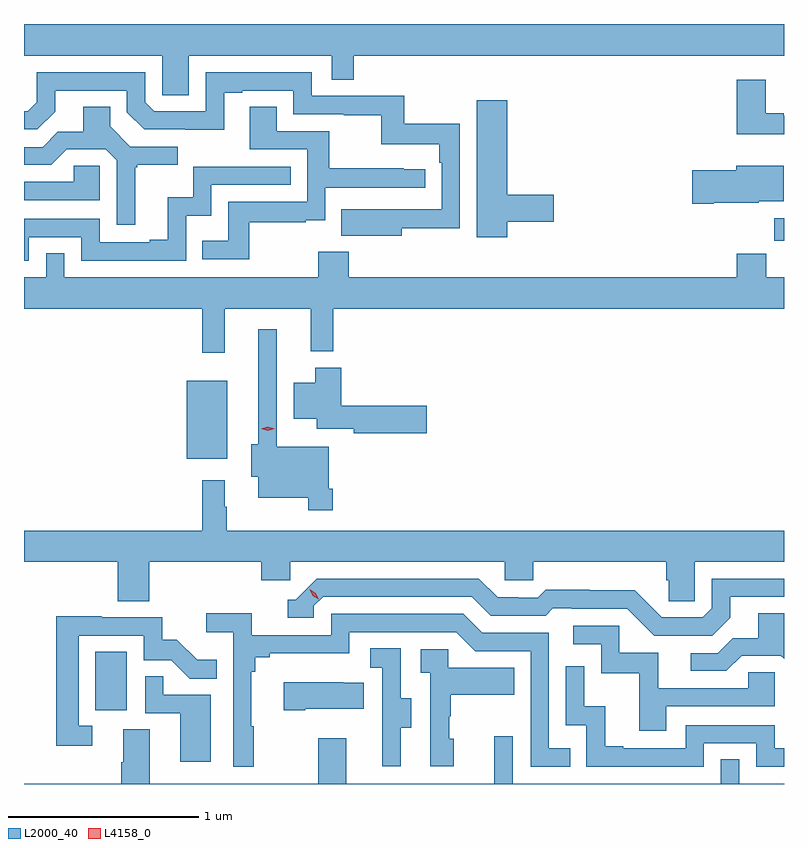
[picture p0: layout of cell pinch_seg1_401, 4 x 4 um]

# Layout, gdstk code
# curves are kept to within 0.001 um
import gdstk
lib = gdstk.Library(unit=1e-6, precision=1e-09)
def R(c, l, rs):  # rectangles x0, y0, x1, y1
    for r in rs: c.add(gdstk.rectangle(r[:2], r[2:], *l))
def P(c, l, *ps):  # polygons
    for p in ps: c.add(gdstk.Polygon(p, *l))
L2000_40 = (2000, 40)
L4158_0 = (4158, 0)

pinch_seg1_401 = lib.new_cell('pinch_seg1_401')
R(pinch_seg1_401, L2000_40, [(934.994,534.966,935.158,535.273), (935.474,536.291,935.689,536.701), (938.566,537.438,938.618,537.556)])
P(pinch_seg1_401, L2000_40, [(935.485,538.412),(936.237,538.412),(936.237,538.285),(936.353,538.285),(936.353,538.412),(938.618,538.412),(938.618,538.578),(938.591,538.578),(938.591,538.576),(935.603,538.576),(935.603,538.578),(935.443,538.578),(935.443,538.576),(934.998,538.576),(934.998,538.578),(934.843,538.578),(934.843,538.576),(934.618,538.576),(934.618,538.412),(935.346,538.412),(935.346,538.204),(935.485,538.204)],
  [(936.607,537.502),(936.912,537.502),(936.912,538.054),(936.619,538.054),(936.619,538.2),(936.132,538.2),(936.132,538.323),(935.574,538.323),(935.574,538.119),(935.304,538.119),(935.256,538.167),(935.256,538.323),(934.686,538.323),(934.686,538.167),(934.638,538.119),(934.618,538.119),(934.618,538.023),(934.689,538.023),(934.783,538.117),(934.783,538.227),(935.16,538.227),(935.16,538.113),(935.25,538.023),(935.671,538.022),(935.671,538.215),(935.767,538.215),(935.767,538.227),(936.036,538.227),(936.036,538.104),(936.301,538.104),(936.301,538.099),(936.498,538.099),(936.498,537.944),(936.803,537.944),(936.803,537.848),(936.816,537.848),(936.816,537.603),(936.289,537.604),(936.289,537.464),(936.607,537.464)],
  [(938.618,538.095),(938.617,538.095),(938.617,538.108),(938.521,538.108),(938.521,538.285),(938.369,538.285),(938.369,537.998),(938.618,537.998)],
  [(937.162,537.538),(937.405,537.538),(937.405,537.68),(937.162,537.68),(937.162,538.177),(937.001,538.177),(937.001,537.456),(937.162,537.456)],
  [(935.203,537.825),(935.215,537.825),(935.215,537.836),(935.428,537.836),(935.428,537.933),(935.178,537.933),(935.071,538.04),(935.071,538.142),(934.931,538.142),(934.931,538.01),(934.796,538.01),(934.716,537.93),(934.618,537.93),(934.618,537.837),(934.762,537.837),(934.843,537.918),(935.049,537.918),(935.106,537.861),(935.106,537.522),(935.203,537.522)],
  [(935.803,537.534),(936.101,537.534),(936.101,537.545),(936.204,537.545),(936.204,537.717),(936.73,537.717),(936.73,537.813),(936.617,537.813),(936.617,537.818),(936.224,537.818),(936.224,538.014),(935.947,538.014),(935.947,538.142),(935.807,538.142),(935.807,537.918),(936.108,537.918),(936.108,537.642),(935.692,537.642),(935.692,537.436),(935.557,537.436),(935.557,537.339),(935.803,537.339)],
  [(938.248,537.638),(938.484,537.638),(938.484,537.644),(938.617,537.644),(938.617,537.832),(938.366,537.832),(938.366,537.809),(938.136,537.809),(938.136,537.631),(938.248,537.631)],
  [(935.016,537.831),(934.879,537.831),(934.879,537.747),(934.618,537.747),(934.618,537.651),(935.016,537.651)],
  [(934.644,537.456),(934.92,537.456),(934.92,537.333),(935.472,537.333),(935.472,537.569),(935.604,537.569),(935.604,537.732),(936.023,537.732),(936.023,537.828),(935.508,537.828),(935.508,537.667),(935.375,537.667),(935.375,537.442),(935.279,537.442),(935.279,537.429),(935.016,537.429),(935.016,537.552),(934.618,537.552),(934.618,537.333),(934.644,537.333)],
  [(935.675,537.08),(936.128,537.08),(936.128,536.855),(936.245,536.855),(936.245,537.08),(938.618,537.08),(938.618,537.244),(938.525,537.244),(938.525,537.368),(938.369,537.368),(938.369,537.244),(936.326,537.244),(936.326,537.379),(936.166,537.379),(936.166,537.244),(934.83,537.244),(934.83,537.371),(934.734,537.371),(934.734,537.244),(934.618,537.244),(934.618,537.08),(935.557,537.08),(935.557,536.847),(935.675,536.847)],
  [(936.242,536.131),(936.222,536.131),(936.222,536.353),(935.949,536.353),(935.949,536.971),(935.852,536.971),(935.852,536.366),(935.813,536.366),(935.813,536.195),(935.852,536.195),(935.852,536.084),(936.114,536.084),(936.114,536.019),(936.242,536.019)],
  [(936.739,536.57),(936.287,536.57),(936.287,536.77),(936.152,536.77),(936.152,536.689),(936.038,536.689),(936.038,536.501),(936.158,536.501),(936.158,536.447),(936.354,536.447),(936.354,536.423),(936.739,536.423)],
  [(935.276,535.748),(935.867,535.748),(935.867,535.65),(936.018,535.65),(936.018,535.748),(937.149,535.748),(937.149,535.65),(937.299,535.65),(937.299,535.748),(937.997,535.748),(937.997,535.65),(938.011,535.65),(938.011,535.54),(938.148,535.54),(938.148,535.748),(938.618,535.748),(938.618,535.912),(935.686,535.912),(935.686,536.036),(935.674,536.036),(935.674,536.176),(935.557,536.176),(935.557,535.912),(934.618,535.912),(934.618,535.748),(935.111,535.748),(935.111,535.54),(935.276,535.54)],
  [(938.335,535.453),(938.335,535.563),(938.618,535.563),(938.618,535.659),(938.238,535.659),(938.238,535.503),(938.19,535.455),(937.974,535.455),(937.832,535.597),(937.596,535.597),(937.596,535.6),(937.363,535.6),(937.321,535.557),(937.218,535.557),(937.218,535.56),(937.111,535.56),(937.012,535.659),(936.159,535.659),(936.048,535.548),(936.005,535.548),(936.005,535.452),(936.144,535.452),(936.144,535.515),(936.192,535.563),(936.975,535.563),(937.074,535.464),(937.363,535.464),(937.402,535.503),(937.501,535.503),(937.501,535.5),(937.794,535.5),(937.935,535.359),(938.241,535.359)],
  [(935.827,534.881),(935.815,534.881),(935.815,535.169),(935.834,535.169),(935.834,535.246),(935.911,535.246),(935.911,535.265),(936.33,535.265),(936.33,535.377),(936.894,535.377),(936.993,535.278),(937.284,535.278),(937.284,534.669),(937.493,534.669),(937.493,534.765),(937.38,534.765),(937.38,535.374),(937.03,535.374),(936.931,535.473),(936.234,535.473),(936.234,535.362),(935.816,535.362),(935.816,535.478),(935.577,535.478),(935.577,535.376),(935.718,535.376),(935.718,534.669),(935.827,534.669)],
  [(938.395,535.254),(938.601,535.254),(938.618,535.237),(938.618,535.478),(938.483,535.478),(938.483,535.346),(938.348,535.346),(938.268,535.266),(938.127,535.266),(938.127,535.173),(938.314,535.173)],
  [(934.978,534.885),(934.905,534.885),(934.905,535.359),(935.247,535.359),(935.247,535.23),(935.392,535.23),(935.49,535.132),(935.633,535.132),(935.633,535.231),(935.529,535.231),(935.422,535.338),(935.346,535.338),(935.346,535.455),(935.027,535.455),(935.027,535.46),(934.789,535.46),(934.789,534.78),(934.978,534.78)],
  [(937.999,534.987),(938.568,534.987),(938.568,535.167),(938.431,535.167),(938.431,535.083),(937.957,535.083),(937.957,535.269),(937.752,535.269),(937.752,535.41),(937.509,535.41),(937.509,535.314),(937.656,535.314),(937.656,535.161),(937.855,535.161),(937.855,534.858),(937.999,534.858)],
  [(936.601,534.874),(936.655,534.874),(936.655,535.029),(936.6,535.029),(936.6,535.292),(936.441,535.292),(936.441,535.189),(936.504,535.189),(936.504,534.885),(936.503,534.885),(936.503,534.672),(936.601,534.672)],
  [(936.88,534.816),(936.855,534.816),(936.855,534.935),(936.865,534.935),(936.865,535.049),(937.199,535.049),(937.199,535.189),(936.852,535.189),(936.852,535.287),(936.705,535.287),(936.705,535.163),(936.756,535.163),(936.756,534.672),(936.88,534.672)],
  [(938.196,534.792),(938.472,534.792),(938.472,534.669),(938.618,534.669),(938.618,534.765),(938.568,534.765),(938.568,534.888),(938.1,534.888),(938.1,534.765),(937.771,534.765),(937.771,534.778),(937.676,534.778),(937.676,534.986),(937.566,534.986),(937.566,535.198),(937.47,535.198),(937.47,534.888),(937.578,534.888),(937.578,534.669),(938.196,534.669)],
  [(935.602,535.047),(935.351,535.047),(935.351,535.145),(935.256,535.145),(935.256,534.951),(935.441,534.951),(935.441,534.696),(935.602,534.696)],
  [(936.097,534.974),(936.407,534.974),(936.407,535.111),(936.299,535.111),(936.299,535.114),(935.985,535.114),(935.985,534.967),(936.097,534.967)],
  [(938.618,534.58),(938.382,534.58),(938.382,534.707),(938.286,534.707),(938.286,534.58),(937.191,534.58),(937.191,534.829),(937.094,534.829),(937.094,534.58),(936.313,534.58),(936.313,534.82),(936.166,534.82),(936.166,534.58),(935.281,534.58),(935.281,534.866),(935.141,534.866),(935.141,534.692),(935.129,534.692),(935.129,534.58),(934.618,534.58),(934.618,534.578),(938.618,534.578)])
P(pinch_seg1_401, L4158_0, [(935.902,536.438),(935.866,536.448),(935.866,536.448),(935.866,536.448),(935.902,536.457),(935.938,536.447),(935.938,536.447),(935.938,536.447)],
  [(936.169,535.55),(936.138,535.57),(936.122,535.602),(936.122,535.603),(936.123,535.603),(936.153,535.583),(936.17,535.55),(936.17,535.55)])

lib.write_gds('pinch_seg1_401.gds')
